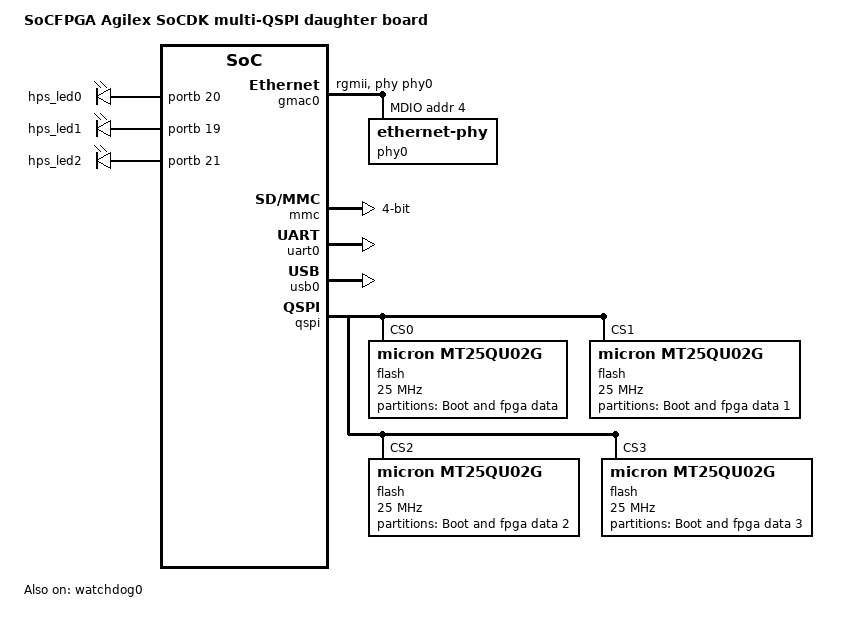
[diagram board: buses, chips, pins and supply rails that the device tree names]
// SPDX-License-Identifier: GPL-2.0
/*
 * Copyright (C) 2026, Intel Corporation
 */
#include "socfpga_agilex.dtsi"

/ {
	model = "SoCFPGA Agilex SoCDK multi-QSPI daughter board";
	compatible = "intel,socfpga-agilex-socdk-multiqspi", "intel,socfpga-agilex";

	aliases {
		serial0 = &uart0;
		ethernet0 = &gmac0;
		ethernet1 = &gmac1;
		ethernet2 = &gmac2;
	};

	chosen {
		stdout-path = "serial0:115200n8";
	};

	leds {
		compatible = "gpio-leds";
		led0 {
			label = "hps_led0";
			gpios = <&portb 20 GPIO_ACTIVE_HIGH>;
		};

		led1 {
			label = "hps_led1";
			gpios = <&portb 19 GPIO_ACTIVE_HIGH>;
		};

		led2 {
			label = "hps_led2";
			gpios = <&portb 21 GPIO_ACTIVE_HIGH>;
		};
	};

	memory@80000000 {
		device_type = "memory";
		/* We expect the bootloader to fill in the reg */
		reg = <0 0x80000000 0 0>;
	};
};

&gpio1 {
	status = "okay";
};

&gmac0 {
	status = "okay";
	/* PHY delays are configured via skew properties */
	phy-mode = "rgmii";
	phy-handle = <&phy0>;

	max-frame-size = <9000>;

	mdio0 {
		#address-cells = <1>;
		#size-cells = <0>;
		compatible = "snps,dwmac-mdio";
		phy0: ethernet-phy@4 {
			reg = <4>;

			txd0-skew-ps = <0>; /* -420ps */
			txd1-skew-ps = <0>; /* -420ps */
			txd2-skew-ps = <0>; /* -420ps */
			txd3-skew-ps = <0>; /* -420ps */
			rxd0-skew-ps = <420>; /* 0ps */
			rxd1-skew-ps = <420>; /* 0ps */
			rxd2-skew-ps = <420>; /* 0ps */
			rxd3-skew-ps = <420>; /* 0ps */
			txen-skew-ps = <0>; /* -420ps */
			txc-skew-ps = <900>; /* 0ps */
			rxdv-skew-ps = <420>; /* 0ps */
			rxc-skew-ps = <1680>; /* 780ps */
		};
	};
};

&mmc {
	status = "okay";
	cap-sd-highspeed;
	broken-cd;
	bus-width = <4>;
	clk-phase-sd-hs = <0>, <135>;
};

&osc1 {
	clock-frequency = <25000000>;
};

&uart0 {
	status = "okay";
};

&usb0 {
	status = "okay";
	disable-over-current;
};

&watchdog0 {
	status = "okay";
};

&qspi {
	status = "okay";

	flash@0 {
		compatible = "micron,mt25qu02g", "jedec,spi-nor";
		reg = <0>;
		spi-max-frequency = <25000000>;

		m25p,fast-read;
		cdns,read-delay = <2>;
		cdns,tshsl-ns = <50>;
		cdns,tsd2d-ns = <50>;
		cdns,tchsh-ns = <4>;
		cdns,tslch-ns = <4>;
		spi-tx-bus-width = <4>;
		spi-rx-bus-width = <4>;

		partitions {
			compatible = "fixed-partitions";
			#address-cells = <1>;
			#size-cells = <1>;

			qspi_boot0: partition@0 {
				label = "Boot and fpga data";
				reg = <0x0 0x10000000>;
			};
		};
	};

	flash@1 {
		compatible = "micron,mt25qu02g", "jedec,spi-nor";
		reg = <1>;
		spi-max-frequency = <25000000>;

		m25p,fast-read;
		cdns,read-delay = <2>;
		cdns,tshsl-ns = <50>;
		cdns,tsd2d-ns = <50>;
		cdns,tchsh-ns = <4>;
		cdns,tslch-ns = <4>;
		spi-tx-bus-width = <4>;
		spi-rx-bus-width = <4>;

		partitions {
			compatible = "fixed-partitions";
			#address-cells = <1>;
			#size-cells = <1>;

			qspi_boot1: partition@0 {
				label = "Boot and fpga data 1";
				reg = <0x0 0x10000000>;
			};
		};
	};

	flash@2 {
		compatible = "micron,mt25qu02g", "jedec,spi-nor";
		reg = <2>;
		spi-max-frequency = <25000000>;

		m25p,fast-read;
		cdns,read-delay = <2>;
		cdns,tshsl-ns = <50>;
		cdns,tsd2d-ns = <50>;
		cdns,tchsh-ns = <4>;
		cdns,tslch-ns = <4>;
		spi-tx-bus-width = <4>;
		spi-rx-bus-width = <4>;

		partitions {
			compatible = "fixed-partitions";
			#address-cells = <1>;
			#size-cells = <1>;

			qspi_boot2: partition@0 {
				label = "Boot and fpga data 2";
				reg = <0x0 0x10000000>;
			};
		};
	};

	flash@3 {
		compatible = "micron,mt25qu02g", "jedec,spi-nor";
		reg = <3>;
		spi-max-frequency = <25000000>;

		m25p,fast-read;
		cdns,read-delay = <2>;
		cdns,tshsl-ns = <50>;
		cdns,tsd2d-ns = <50>;
		cdns,tchsh-ns = <4>;
		cdns,tslch-ns = <4>;
		spi-tx-bus-width = <4>;
		spi-rx-bus-width = <4>;

		partitions {
			compatible = "fixed-partitions";
			#address-cells = <1>;
			#size-cells = <1>;

			qspi_boot3: partition@0 {
				label = "Boot and fpga data 3";
				reg = <0x0 0x10000000>;
			};
		};
	};
};
